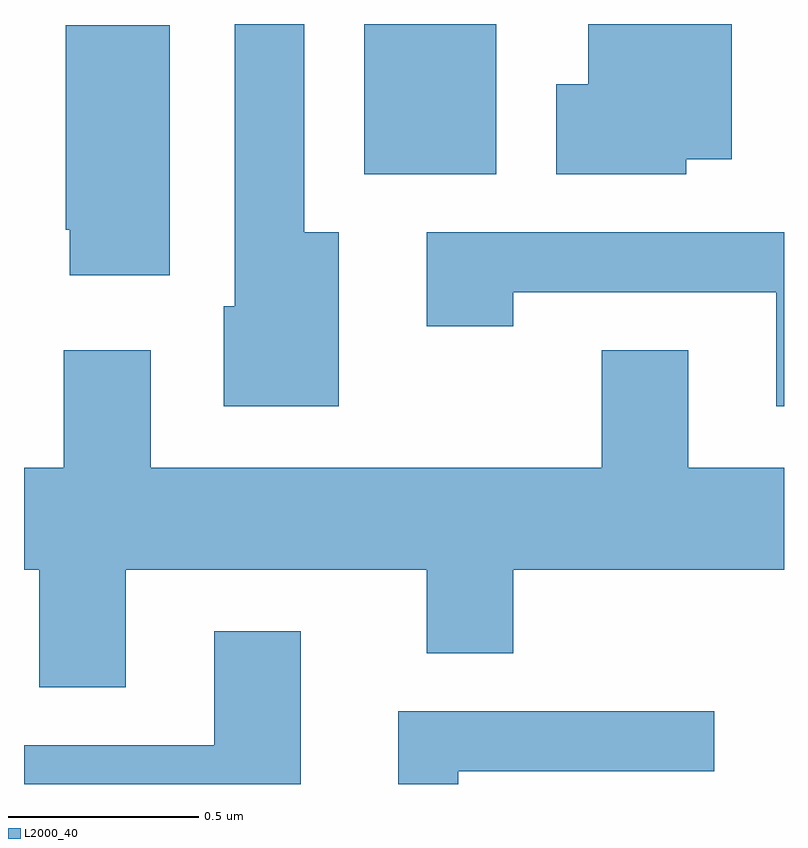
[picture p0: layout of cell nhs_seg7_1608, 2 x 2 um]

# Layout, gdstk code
import gdstk
lib = gdstk.Library(unit=1e-6, precision=1e-09)
def R(c, l, rs):  # rectangles x0, y0, x1, y1
    for r in rs: c.add(gdstk.rectangle(r[:2], r[2:], *l))
def P(c, l, *ps):  # polygons
    for p in ps: c.add(gdstk.Polygon(p, *l))
L2000_40 = (2000, 40)

nhs_seg7_1608 = lib.new_cell('nhs_seg7_1608')
R(nhs_seg7_1608, L2000_40, [(197.506,1770.856,197.854,1771.252)])
P(nhs_seg7_1608, L2000_40, [(197.439,1770.704),(197.349,1770.704),(197.349,1771.252),(197.166,1771.252),(197.166,1770.509),(197.136,1770.509),(197.136,1770.246),(197.439,1770.246)],
  [(198.354,1770.896),(198.474,1770.896),(198.474,1771.252),(198.096,1771.252),(198.096,1771.094),(198.011,1771.094),(198.011,1770.856),(198.354,1770.856)],
  [(196.994,1771.249),(196.721,1771.249),(196.721,1770.71),(196.731,1770.71),(196.731,1770.591),(196.994,1770.591)],
  [(198.611,1770.704),(197.671,1770.704),(197.671,1770.456),(197.899,1770.456),(197.899,1770.546),(198.591,1770.546),(198.591,1770.246),(198.611,1770.246)],
  [(196.879,1769.816),(197.671,1769.816),(197.671,1769.596),(197.899,1769.596),(197.899,1769.816),(198.611,1769.816),(198.611,1770.084),(198.359,1770.084),(198.359,1770.394),(198.131,1770.394),(198.131,1770.084),(196.944,1770.084),(196.944,1770.394),(196.716,1770.394),(196.716,1770.084),(196.611,1770.084),(196.611,1769.816),(196.651,1769.816),(196.651,1769.506),(196.879,1769.506)],
  [(197.339,1769.654),(197.111,1769.654),(197.111,1769.354),(196.611,1769.354),(196.611,1769.252),(197.339,1769.252)],
  [(197.754,1769.286),(198.428,1769.286),(198.428,1769.444),(197.596,1769.444),(197.596,1769.252),(197.754,1769.252)])

lib.write_gds('nhs_seg7_1608.gds')
